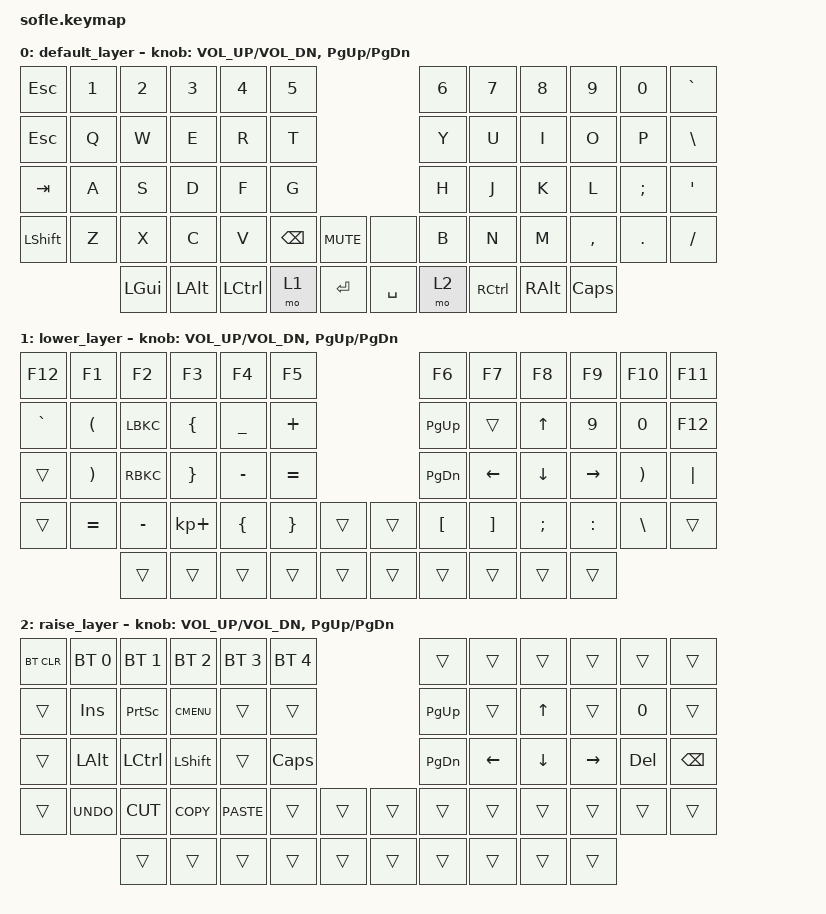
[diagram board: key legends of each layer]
/*
 * Copyright (c) 2020 The ZMK Contributors
 *
 * SPDX-License-Identifier: MIT
 */

#include <behaviors.dtsi>
#include <dt-bindings/zmk/keys.h>
#include <dt-bindings/zmk/bt.h>

/ {
    keymap {
        compatible = "zmk,keymap";

        default_layer {
// ------------------------------------------------------------------------------------------------------------
// |  ESC  |  1  |  2  |  3   |   4   |   5   |                   |   6   |  7    |  8    |  9   |   0   |   `   |
// |  TAB  |  Q  |  W  |  E   |   R   |   T   |                   |   Y   |  U    |  I    |  O   |   P   |   \   |
// | CTRL  |  A  |  S  |  D   |   F   |   G   |                   |   H   |  J    |  K    |  L   |   ;   |   '   |
// | SHIFT |  Z  |  X  |  C   |   V   |  BSPC |  MUTE  |  |       |   B   |   N   |  M    |  ,   |  .    |   /   |
//               | GUI | ALT  | SHIFT | LOWER |  ENTER |  | SPACE | RAISE | CTRL  | ALT   | CAPS |
            bindings = <
&kp ESC   &kp N1 &kp N2   &kp N3   &kp N4    &kp N5                         &kp N6 &kp N7    &kp N8    &kp N9    &kp N0   &kp GRAVE
&kp ESC   &kp Q  &kp W    &kp E    &kp R     &kp T                          &kp Y  &kp U     &kp I     &kp O     &kp P    &kp BSLH
&kp TAB   &kp A  &kp S    &kp D    &kp F     &kp G                          &kp H  &kp J     &kp K     &kp L     &kp SEMI &kp SQT
&kp LSHFT &kp Z  &kp X    &kp C    &kp V     &kp BSPC  &kp C_MUTE &none     &kp B  &kp N     &kp M     &kp COMMA &kp DOT  &kp FSLH 
                 &kp LGUI &kp LALT &kp LCTRL &mo 1     &kp RET    &kp SPACE &mo 2  &kp RCTRL &kp RALT  &kp CLCK
            >;

            sensor-bindings = <&inc_dec_kp C_VOL_UP C_VOL_DN &inc_dec_kp PG_UP PG_DN>;
        };

        lower_layer {
// TODO: Some binds are waiting for shifted keycode support.
// ------------------------------------------------------------------------------------------------------------
// |  F12  |  F1 |  F2  |  F3  |  F4  |  F5  |                   |  F6  |  F7   |  F8   |  F9  |  F10  |  F11  |
// | `     |  (  |   [  |  {   |  _   |   +  |                   | PGUP |       |   ^   |      |       |       |
// |       |  )  |   ]  |  }   |  -   |   =  |                   | PGDN |   <-  |   v   |  ->  |       |       |
// |       |  =  |  -   |  +   |  {   |  }   |        |  |       |  [   |  ]    |  ;    |  :   |   \   |       |
//               |      |      |      |      |        |  |       |      |       |       |      |
            bindings = <
&kp F12   &kp F1    &kp F2    &kp F3      &kp F4    &kp F5                     &kp F6    &kp F7   &kp F8   &kp F9    &kp F10   &kp F11
&kp GRAVE &kp LPAR  &kp LBKC  &kp LBRC    &kp UNDER &kp PLUS                   &kp PG_UP &trans   &kp UP   &kp N9    &kp N0    &kp F12
&trans    &kp RPAR  &kp RBKC  &kp RBRC    &kp MINUS &kp EQUAL                  &kp PG_DN &kp LEFT &kp DOWN &kp RIGHT &kp RPAR  &kp PIPE
&trans    &kp EQUAL &kp MINUS &kp KP_PLUS &kp LBRC  &kp RBRC  &trans   &trans  &kp LBKT  &kp RBKT &kp SEMI &kp COLON &kp BSLH  &trans
                    &trans    &trans      &trans    &trans    &trans   &trans  &trans    &trans   &trans    &trans
            >;

            sensor-bindings = <&inc_dec_kp C_VOL_UP C_VOL_DN &inc_dec_kp PG_UP PG_DN>;
        };

        raise_layer {
// ------------------------------------------------------------------------------------------------------------
// |BTCLR| BT1  | BT2  |  BT3  |  BT4  |  BT5 |                |      |      |       |      |       |       |
// |     | INS  | PSCR | GUI   |       |      |                | PGUP |      |   ^   |      |       |       |
// |     | ALT  | CTRL | SHIFT |       | CAPS |                | PGDN |   <- |   v   |  ->  |  DEL  | BKSPC |
// |     | UNDO | CUT  | COPY  | PASTE |      |      |  |      |      |      |       |      |       |       |
//              |      |       |       |      |      |  |      |      |      |       |      |
            bindings = <
&bt BT_CLR &bt BT_SEL 0 &bt BT_SEL 1 &bt BT_SEL 2 &bt BT_SEL 3 &bt BT_SEL 4             &trans    &trans    &trans   &trans    &trans  &trans
&trans     &kp INS      &kp PSCRN    &kp K_CMENU  &trans       &trans                   &kp PG_UP &trans    &kp UP   &trans    &kp N0  &trans
&trans     &kp LALT     &kp LCTRL    &kp LSHFT    &trans       &kp CLCK                 &kp PG_DN &kp LEFT  &kp DOWN &kp RIGHT &kp DEL &kp BSPC
&trans     &kp K_UNDO   &kp K_CUT    &kp K_COPY   &kp K_PASTE  &trans  &trans   &trans  &trans    &trans    &trans   &trans    &trans  &trans
                        &trans       &trans       &trans       &trans  &trans   &trans  &trans    &trans    &trans   &trans
            >;

            sensor-bindings = <&inc_dec_kp C_VOL_UP C_VOL_DN &inc_dec_kp PG_UP PG_DN>;
        };
    };
};
